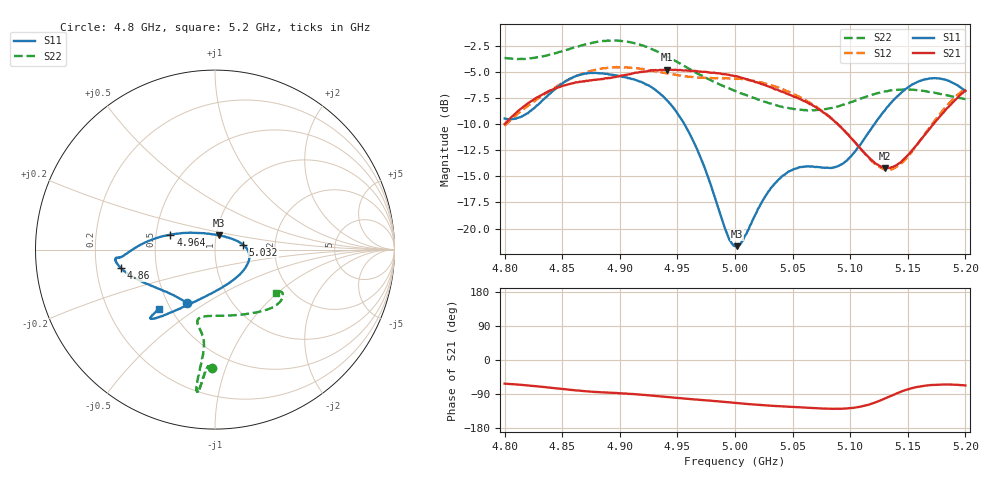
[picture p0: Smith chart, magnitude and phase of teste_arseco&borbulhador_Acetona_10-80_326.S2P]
! Network Analyzer HP8722D
! Hewlett-Packard
! Data name: Linha & Wilkinson
! Saver's name: Rodrigo Anjos
! Comments: Teste da utilização de aquisição
! continua pelo VNA HP8722D
! Time and date: 17/4/2025 17:04
!  Frequency  S11  S21  S12  S22
# HZ  S  MA R 50
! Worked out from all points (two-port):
!   401 points, 4.8 GHz to 5.2 GHz, reference 50 ohm
!   highest |S21| = -4.77 dB at 4.941 GHz (marker M1); lowest = -14.2 dB at 5.13 GHz (marker M2)
!   |S21| within 3 dB of the highest: 4.823 GHz to 5.06 GHz (236.6 MHz wide, 4.79 % of centre); 5.190349 GHz to end of sweep
!   lowest |S11| = -21.7 dB at 5.002 GHz (marker M3), VSWR 1.18, Z = 51.5 + j8.25 ohm
!   |S11| at or under -10 dB: 4.956 GHz to 5.121 GHz (164.9 MHz wide, 3.27 % of centre)
!   |S22| runs from -8.7 to -2.0 dB; largest |S21 - S12| = 0.87
!   S11 on the Smith chart (normalised r, x): 4.8 GHz: 0.62, -0.42; 4.86 GHz: 0.31, -0.09; 4.964 GHz: 0.60, +0.11; 5.032 GHz: 1.37, +0.08; 5.2 GHz: 0.43, -0.36
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4.8e9  0.3371 -117.2  0.3171 -62.4  0.3111 -176.7  0.6574 -91.6
4.819e9  0.3555 -137.5  0.3938 -66.7  0.3826 -176.4  0.6535 -93.2
4.86e9  0.5342 -168.8  0.4981 -79.6  0.5313 -179.8  0.737 -95.6
4.867e9  0.5493 -171.5  0.5066 -81.7  0.5513 178.9  0.7567 -95.9
4.898e9  0.5405 -175.3  0.5361 -87.2  0.5916 173.3  0.7969 -97.2
4.934e9  0.4482 179.0  0.5751 -95.9  0.5662 169.8  0.6998 -97.5
4.941e9  0.4118 176.0  0.5776 -97.8  0.5553 169.8  0.6692 -97.2
4.964e9  0.2619 161.4  0.5704 -103.8  0.5326 171.6  0.568 -96.5
4.975e9  0.1867 150.1  0.5643 -106.5  0.5272 172.8  0.5273 -96.7
4.993e9  0.09475 111.1  0.5474 -111.3  0.526 174.0  0.4743 -98.8
5e9  0.08234 83.7  0.5385 -113.2  0.5235 174.2  0.4572 -100.2
5.002e9  0.0823 75.4  0.5369 -113.8  0.5221 174.0  0.4542 -100.5
5.032e9  0.1582 10.2  0.4733 -120.8  0.4852 172.8  0.3957 -103.4
5.048e9  0.1891 -4.9  0.4369 -123.4  0.4491 172.1  0.3763 -98.9
5.067e9  0.1985 -25.2  0.3909 -126.8  0.3941 172.0  0.3693 -88.3
5.095e9  0.2077 -73.7  0.2941 -128.2  0.2952 174.5  0.3936 -66.5
5.13e9  0.3681 -119.4  0.1951 -101.8  0.1923 -155.5  0.4543 -45.1
5.134e9  0.3925 -121.8  0.1952 -96.4  0.1916 -149.4  0.4582 -43.3
5.146e9  0.4568 -127.3  0.214 -81.4  0.2089 -132.0  0.4649 -38.9
5.168e9  0.5236 -132.5  0.2965 -66.9  0.3003 -113.2  0.4521 -33.5
5.184e9  0.5139 -133.6  0.3775 -64.6  0.3884 -109.0  0.4356 -32.5
5.2e9  0.4558 -133.5  0.459 -67.2  0.4704 -109.1  0.4172 -35.1
